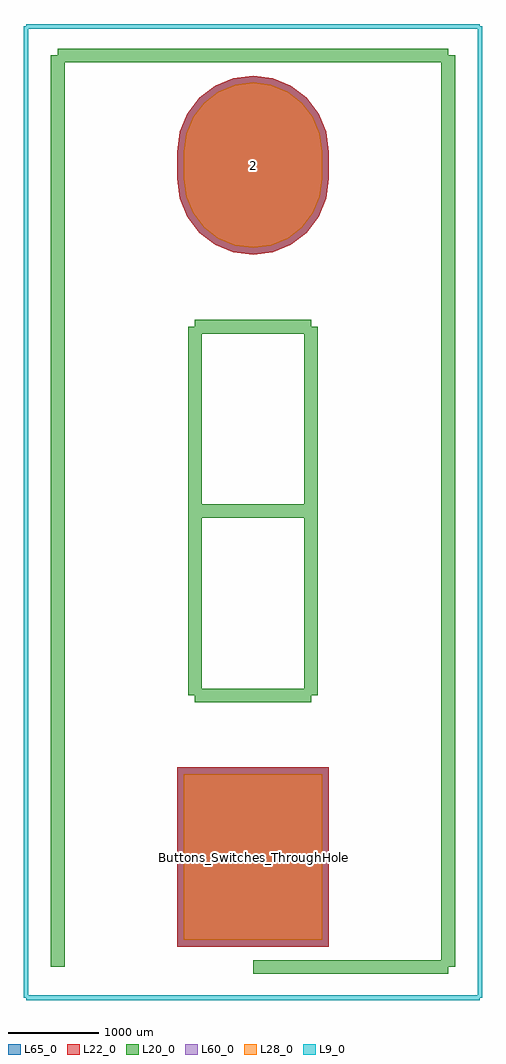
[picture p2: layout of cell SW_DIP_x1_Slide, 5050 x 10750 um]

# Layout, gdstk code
import gdstk
lib = gdstk.Library(unit=1e-6, precision=1e-09)
def R(c, l, rs):  # rectangles x0, y0, x1, y1
    for r in rs: c.add(gdstk.rectangle(r[:2], r[2:], *l))
def P(c, l, *ps):  # polygons
    for p in ps: c.add(gdstk.Polygon(p, *l))
L9_0 = (9, 0)
L20_0 = (20, 0)
L22_0 = (22, 0)
L28_0 = (28, 0)
L60_0 = (60, 0)
L65_0 = (65, 0)

sw_dip_x1_slide = lib.new_cell('SW_DIP_x1_Slide')
R(sw_dip_x1_slide, L22_0, [(-837,-987,837,987)])
P(sw_dip_x1_slide, L22_0, [(0,6633),(216.632,6661.52),(418.5,6745.137),(591.848,6878.152),(724.863,7051.5),(808.48,7253.368),(837,7470),(837,7770),(808.48,7986.632),(724.863,8188.5),(591.848,8361.848),(418.5,8494.863),(216.632,8578.48),(0,8607),(-216.632,8578.48),(-418.5,8494.863),(-591.848,8361.848),(-724.863,8188.5),(-808.48,7986.632),(-837,7770),(-837,7470),(-808.48,7253.368),(-724.863,7051.5),(-591.848,6878.152),(-418.5,6745.137),(-216.632,6661.52)])
R(sw_dip_x1_slide, L28_0, [(-762,-912,762,912)])
P(sw_dip_x1_slide, L28_0, [(0,6708),(197.22,6733.965),(381,6810.089),(538.815,6931.185),(659.911,7089),(736.035,7272.78),(762,7470),(762,7770),(736.035,7967.22),(659.911,8151),(538.815,8308.815),(381,8429.911),(197.22,8506.035),(0,8532),(-197.22,8506.035),(-381,8429.911),(-538.815,8308.815),(-659.911,8151),(-736.035,7967.22),(-762,7770),(-762,7470),(-736.035,7272.78),(-659.911,7089),(-538.815,6931.185),(-381,6810.089),(-197.22,6733.965)])
R(sw_dip_x1_slide, L60_0, [(-762,-912,762,912)])
P(sw_dip_x1_slide, L60_0, [(0,6708),(197.22,6733.965),(381,6810.089),(538.815,6931.185),(659.911,7089),(736.035,7272.78),(762,7470),(762,7770),(736.035,7967.22),(659.911,8151),(538.815,8308.815),(381,8429.911),(197.22,8506.035),(0,8532),(-197.22,8506.035),(-381,8429.911),(-538.815,8308.815),(-659.911,8151),(-736.035,7967.22),(-762,7770),(-762,7470),(-736.035,7272.78),(-659.911,7089),(-538.815,6931.185),(-381,6810.089),(-197.22,6733.965)])
R(sw_dip_x1_slide, L65_0, [(-837,-987,837,987)])
P(sw_dip_x1_slide, L65_0, [(0,6633),(216.632,6661.52),(418.5,6745.137),(591.848,6878.152),(724.863,7051.5),(808.48,7253.368),(837,7470),(837,7770),(808.48,7986.632),(724.863,8188.5),(591.848,8361.848),(418.5,8494.863),(216.632,8578.48),(0,8607),(-216.632,8578.48),(-418.5,8494.863),(-591.848,8361.848),(-724.863,8188.5),(-808.48,7986.632),(-837,7770),(-837,7470),(-808.48,7253.368),(-724.863,7051.5),(-591.848,6878.152),(-418.5,6745.137),(-216.632,6661.52)])
sw_dip_x1_slide.add(gdstk.FlexPath([(640,5840),(-640,5840)], 149.998, ends="flush", simple_path=True, layer=20, datatype=0))  # L20_0
sw_dip_x1_slide.add(gdstk.FlexPath([(640,1780),(640,5840)], 149.998, ends="flush", simple_path=True, layer=20, datatype=0))  # L20_0
sw_dip_x1_slide.add(gdstk.FlexPath([(-640,1780),(640,1780)], 149.998, ends="flush", simple_path=True, layer=20, datatype=0))  # L20_0
sw_dip_x1_slide.add(gdstk.FlexPath([(-640,5840),(-640,1780)], 149.998, ends="flush", simple_path=True, layer=20, datatype=0))  # L20_0
sw_dip_x1_slide.add(gdstk.FlexPath([(-640,3810),(640,3810)], 149.998, ends="flush", simple_path=True, layer=20, datatype=0))  # L20_0
sw_dip_x1_slide.add(gdstk.FlexPath([(2150,8830),(2150,-1210)], 149.998, ends="flush", simple_path=True, layer=20, datatype=0))  # L20_0
sw_dip_x1_slide.add(gdstk.FlexPath([(-2150,8830),(-2150,-1210)], 149.998, ends="flush", simple_path=True, layer=20, datatype=0))  # L20_0
sw_dip_x1_slide.add(gdstk.FlexPath([(0,-1210),(2150,-1210)], 149.998, ends="flush", simple_path=True, layer=20, datatype=0))  # L20_0
sw_dip_x1_slide.add(gdstk.FlexPath([(-2150,8830),(2150,8830)], 149.998, ends="flush", simple_path=True, layer=20, datatype=0))  # L20_0
sw_dip_x1_slide.add(gdstk.FlexPath([(2500,9150),(2500,-1550)], 50, ends="flush", simple_path=True, layer=9, datatype=0))  # L9_0
sw_dip_x1_slide.add(gdstk.FlexPath([(-2500,9150),(2500,9150)], 50, ends="flush", simple_path=True, layer=9, datatype=0))  # L9_0
sw_dip_x1_slide.add(gdstk.FlexPath([(-2500,-1550),(-2500,9150)], 50, ends="flush", simple_path=True, layer=9, datatype=0))  # L9_0
sw_dip_x1_slide.add(gdstk.FlexPath([(2500,-1550),(-2500,-1550)], 50, ends="flush", simple_path=True, layer=9, datatype=0))  # L9_0
sw_dip_x1_slide.add(gdstk.Label('Buttons_Switches_ThroughHole.3dshapes/SW_DIP_x1_Slide.wrl', (0,0), layer=12, texttype=0))
sw_dip_x1_slide.add(gdstk.Label('2', (0,7620), layer=28, texttype=0))
sw_dip_x1_slide.add(gdstk.Label('1', (0,0), layer=28, texttype=0))
sw_dip_x1_slide.add(gdstk.Label('type', (500,-2400), layer=9, texttype=0))
sw_dip_x1_slide.add(gdstk.Label('devicename', (0,10000), layer=9, texttype=0))

lib.write_gds('SW_DIP_x1_Slide.gds')
